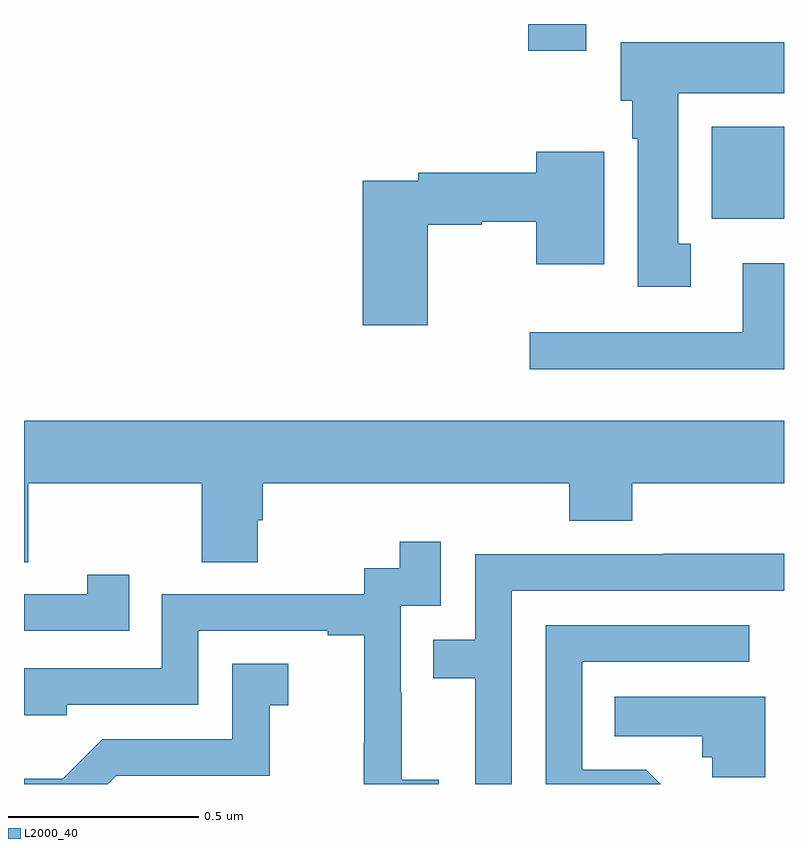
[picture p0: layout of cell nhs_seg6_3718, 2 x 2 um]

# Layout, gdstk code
import gdstk
lib = gdstk.Library(unit=1e-6, precision=1e-09)
def R(c, l, rs):  # rectangles x0, y0, x1, y1
    for r in rs: c.add(gdstk.rectangle(r[:2], r[2:], *l))
def P(c, l, *ps):  # polygons
    for p in ps: c.add(gdstk.Polygon(p, *l))
L2000_40 = (2000, 40)

nhs_seg6_3718 = lib.new_cell('nhs_seg6_3718')
R(nhs_seg6_3718, L2000_40, [(161.81,991.988,162,992.23), (161.327,992.43,161.479,992.5)])
P(nhs_seg6_3718, L2000_40, [(161.755,991.922),(161.722,991.922),(161.722,992.318),(162,992.318),(162,992.452),(161.57,992.452),(161.57,992.298),(161.6,992.298),(161.6,992.198),(161.615,992.198),(161.615,991.809),(161.755,991.809)],
  [(161.062,991.972),(161.205,991.972),(161.205,991.98),(161.348,991.98),(161.348,991.868),(161.527,991.868),(161.527,992.164),(161.348,992.164),(161.348,992.108),(161.038,992.108),(161.038,992.088),(160.892,992.088),(160.892,991.707),(161.062,991.707)],
  [(162,991.87),(161.891,991.87),(161.891,991.689),(161.331,991.689),(161.331,991.592),(162,991.592)],
  [(160.011,991.292),(160.468,991.292),(160.468,991.084),(160.615,991.084),(160.615,991.194),(160.628,991.194),(160.628,991.292),(161.435,991.292),(161.435,991.193),(161.6,991.193),(161.6,991.292),(162,991.292),(162,991.456),(160,991.456),(160,991.084),(160.011,991.084)],
  [(161.092,990.511),(160.994,990.511),(160.994,990.74),(160.992,990.74),(160.992,990.969),(161.097,990.969),(161.097,991.138),(160.989,991.138),(160.989,991.068),(160.896,991.068),(160.896,990.999),(160.362,990.999),(160.362,990.804),(160,990.804),(160,990.681),(160.113,990.681),(160.113,990.708),(160.458,990.708),(160.458,990.903),(160.799,990.903),(160.799,990.891),(160.895,990.891),(160.895,990.607),(160.894,990.607),(160.894,990.5),(161.092,990.5)],
  [(161.283,991.008),(162,991.008),(162,991.106),(161.683,991.106),(161.683,991.104),(161.187,991.104),(161.187,990.879),(161.077,990.879),(161.077,990.778),(161.187,990.778),(161.187,990.5),(161.283,990.5)],
  [(160.277,991.051),(160.166,991.051),(160.166,990.999),(160,990.999),(160,990.903),(160.277,990.903)],
  [(161.638,990.537),(161.469,990.537),(161.469,990.822),(161.908,990.822),(161.908,990.918),(161.373,990.918),(161.373,990.5),(161.675,990.5)],
  [(160.243,990.522),(160.647,990.522),(160.647,990.707),(160.696,990.707),(160.696,990.817),(160.548,990.817),(160.548,990.618),(160.206,990.618),(160.102,990.514),(160,990.514),(160,990.5),(160.221,990.5)],
  [(161.95,990.73),(161.554,990.73),(161.554,990.626),(161.785,990.626),(161.785,990.57),(161.811,990.57),(161.811,990.518),(161.95,990.518)])

lib.write_gds('nhs_seg6_3718.gds')
